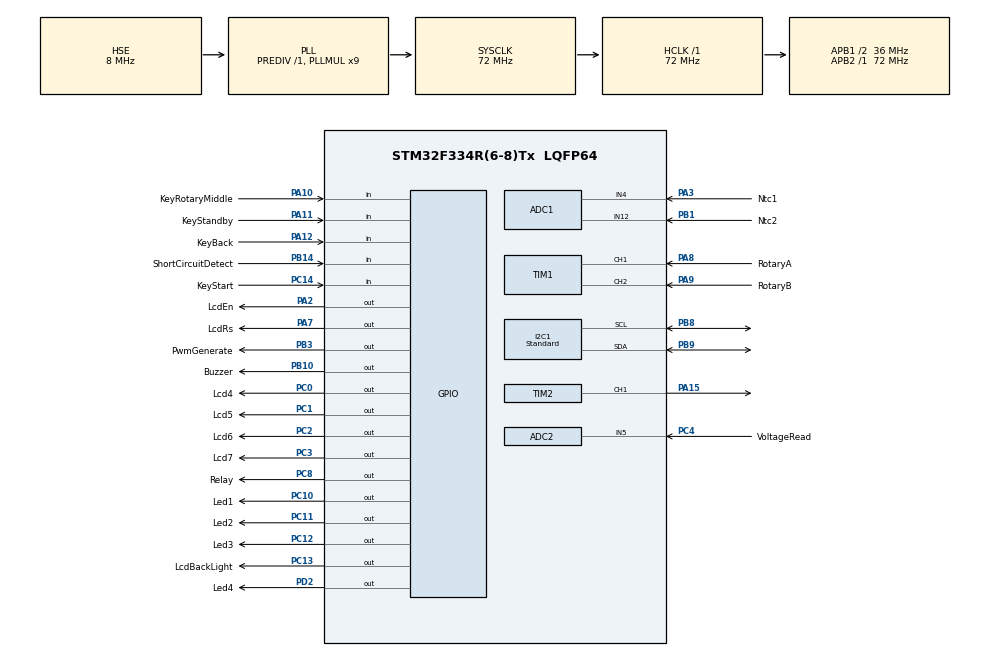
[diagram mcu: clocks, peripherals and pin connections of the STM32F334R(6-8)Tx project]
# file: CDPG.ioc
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ADC1.Channel-0\#ChannelRegularConversion=ADC_CHANNEL_12
ADC1.ClockPrescaler=ADC_CLOCK_SYNC_PCLK_DIV2
ADC1.NbrOfConversionFlag=1
ADC1.Offset-0\#ChannelRegularConversion=0
ADC1.OffsetNumber-0\#ChannelRegularConversion=ADC_OFFSET_NONE
ADC1.Rank-0\#ChannelRegularConversion=1
ADC1.SamplingTime-0\#ChannelRegularConversion=ADC_SAMPLETIME_1CYCLE_5
ADC1.SubFamily=STM32F334x8
ADC1.master=1
ADC2.Channel-0\#ChannelRegularConversion=ADC_CHANNEL_5
ADC2.ClockPrescaler=ADC_CLOCK_SYNC_PCLK_DIV2
ADC2.InjNumberOfConversion=0
ADC2.NbrOfConversion=1
ADC2.NbrOfConversionFlag=1
ADC2.Offset-0\#ChannelRegularConversion=0
ADC2.OffsetNumber-0\#ChannelRegularConversion=ADC_OFFSET_NONE
ADC2.Rank-0\#ChannelRegularConversion=1
ADC2.Resolution=ADC_RESOLUTION_12B
ADC2.SamplingTime-0\#ChannelRegularConversion=ADC_SAMPLETIME_2CYCLES_5
ADC2.SamplingTimeOPAMP-0\#ChannelRegularConversion=ADC_SAMPLETIME_61CYCLES_5
ADC2.SubFamily=STM32F334x8
I2C1.I2C_Coeff_DF=5
I2C1.I2C_Speed_Mode=I2C_Standard
I2C1.Timing=0x00201826
Mcu.Family=STM32F3
Mcu.Name=STM32F334R(6-8)Tx
Mcu.Package=LQFP64
NVIC.PriorityGroup=NVIC_PRIORITYGROUP_4
NVIC.TIM2_IRQn=true\:0\:0\:false\:false\:true\:true\:true\:true
NVIC.TIM7_DAC2_IRQn=true\:0\:0\:false\:false\:true\:true\:true\:true
PA10.GPIO_Label=KeyRotaryMiddle
PA10.GPIO_PuPd=GPIO_PULLUP
PA10.Signal=GPIO_Input
PA11.GPIO_Label=KeyStandby
PA11.GPIO_PuPd=GPIO_PULLUP
PA11.Signal=GPIO_Input
PA12.GPIO_Label=KeyBack
PA12.GPIO_PuPd=GPIO_PULLUP
PA12.Signal=GPIO_Input
PA13.Mode=Serial_Wire
PA13.Signal=SYS_JTMS-SWDIO
PA14.Mode=Serial_Wire
PA14.Signal=SYS_JTCK-SWCLK
PA15.Signal=S_TIM2_CH1_ETR
PA2.GPIO_Label=LcdEn
PA2.GPIO_ModeDefaultOutputPP=GPIO_MODE_OUTPUT_PP
PA2.GPIO_PuPd=GPIO_PULLDOWN
PA2.Signal=GPIO_Output
PA3.GPIO_Label=Ntc1
PA3.Mode=IN4-Single-Ended
PA3.Signal=ADC1_IN4
PA7.GPIO_Label=LcdRs
PA7.GPIO_PuPd=GPIO_PULLDOWN
PA7.Signal=GPIO_Output
PA8.GPIO_Label=RotaryA
PA8.Signal=S_TIM1_CH1
PA9.GPIO_Label=RotaryB
PA9.Signal=S_TIM1_CH2
PB1.GPIO_Label=Ntc2
PB1.Mode=IN12-Single-Ended
PB1.Signal=ADC1_IN12
PB10.GPIO_Label=Buzzer
PB10.Signal=GPIO_Output
PB14.GPIO_Label=ShortCircuitDetect
PB14.GPIO_PuPd=GPIO_PULLUP
PB14.Signal=GPIO_Input
PB3.GPIO_Label=PwmGenerate
PB3.GPIO_PuPd=GPIO_PULLDOWN
PB3.Signal=GPIO_Output
PB8.Mode=I2C
PB8.Signal=I2C1_SCL
PB9.Mode=I2C
PB9.Signal=I2C1_SDA
PC0.GPIO_Label=Lcd4
PC0.GPIO_PuPd=GPIO_PULLDOWN
PC0.Signal=GPIO_Output
PC1.GPIO_Label=Lcd5
PC1.GPIO_PuPd=GPIO_PULLDOWN
PC1.Signal=GPIO_Output
PC10.GPIO_Label=Led1
PC10.GPIO_PuPd=GPIO_PULLDOWN
PC10.Signal=GPIO_Output
PC11.GPIO_Label=Led2
PC11.GPIO_PuPd=GPIO_PULLDOWN
PC11.Signal=GPIO_Output
PC12.GPIO_Label=Led3
PC12.GPIO_PuPd=GPIO_PULLDOWN
PC12.Signal=GPIO_Output
PC13.GPIO_Label=LcdBackLight
PC13.GPIO_PuPd=GPIO_PULLDOWN
PC13.Signal=GPIO_Output
PC14\ /\ OSC32_IN.GPIO_Label=KeyStart
PC14\ /\ OSC32_IN.GPIO_PuPd=GPIO_PULLUP
PC14\ /\ OSC32_IN.Signal=GPIO_Input
PC2.GPIO_Label=Lcd6
PC2.GPIO_PuPd=GPIO_PULLDOWN
PC2.Signal=GPIO_Output
PC3.GPIO_Label=Lcd7
PC3.GPIO_PuPd=GPIO_PULLDOWN
PC3.Signal=GPIO_Output
PC4.GPIO_Label=VoltageRead
PC4.Mode=IN5-Single-Ended
PC4.Signal=ADC2_IN5
PC8.GPIO_Label=Relay
PC8.Signal=GPIO_Output
PD2.GPIO_Label=Led4
PD2.GPIO_PuPd=GPIO_PULLDOWN
PD2.Signal=GPIO_Output
PF0\ /\ OSC_IN.Mode=HSE-External-Oscillator
PF0\ /\ OSC_IN.Signal=RCC_OSC_IN
PF1\ /\ OSC_OUT.Mode=HSE-External-Oscillator
PF1\ /\ OSC_OUT.Signal=RCC_OSC_OUT
ProjectManager.HeapSize=0x200
ProjectManager.StackSize=0x400
ProjectManager.TargetToolchain=STM32CubeIDE
RCC.AHBFreq_Value=72000000
RCC.APB1CLKDivider=RCC_HCLK_DIV2
RCC.APB1Freq_Value=36000000
RCC.APB1TimFreq_Value=72000000
RCC.APB2Freq_Value=72000000
RCC.APB2TimFreq_Value=72000000
RCC.CortexFreq_Value=72000000
RCC.HCLKFreq_Value=72000000
RCC.HSE_VALUE=8000000
RCC.HSI_VALUE=8000000
RCC.LSE_VALUE=32768
RCC.PLLMUL=RCC_PLL_MUL9
RCC.PLLSourceVirtual=RCC_PLLSOURCE_HSE
RCC.SYSCLKFreq_VALUE=72000000
RCC.SYSCLKSourceVirtual=RCC_SYSCLKSOURCE_PLLCLK
SH.S_TIM1_CH1.0=TIM1_CH1,Encoder_Interface
SH.S_TIM1_CH2.0=TIM1_CH2,Encoder_Interface
SH.S_TIM2_CH1_ETR.0=TIM2_CH1,PWM Generation1 CH1
TIM1.AutoReloadPreload=TIM_AUTORELOAD_PRELOAD_DISABLE
TIM1.ClockDivision=TIM_CLOCKDIVISION_DIV1
TIM1.CounterMode=TIM_COUNTERMODE_UP
TIM1.EncoderMode=TIM_ENCODERMODE_TI12
TIM1.IC1Filter=5
TIM1.IC1Polarity=TIM_ICPOLARITY_FALLING
TIM1.IC1Prescaler=TIM_ICPSC_DIV1
TIM1.IC2Filter=5
TIM1.IC2Polarity=TIM_ICPOLARITY_FALLING
TIM1.IC2Prescaler=TIM_ICPSC_DIV1
TIM2.AutoReloadPreload=TIM_AUTORELOAD_PRELOAD_ENABLE
TIM2.Channel-Output\ Compare2\ No\ Output=TIM_CHANNEL_2
TIM2.Channel-Output\ Compare3\ No\ Output=TIM_CHANNEL_3
TIM2.Channel-PWM\ Generation1\ CH1=TIM_CHANNEL_1
TIM2.ClearInputSource=TIM_CLEARINPUTSOURCE_NONE
TIM2.OC2Preload=ENABLE
TIM2.OC3Preload=ENABLE
TIM2.OCFastMode_PWM-PWM\ Generation1\ CH1=TIM_OCFAST_ENABLE
TIM2.Period=100000-1
TIM2.Prescaler=72-1
TIM2.Pulse-Output\ Compare2\ No\ Output=45
TIM2.Pulse-Output\ Compare3\ No\ Output=75
TIM2.Pulse-PWM\ Generation1\ CH1=40
TIM7.AutoReloadPreload=TIM_AUTORELOAD_PRELOAD_ENABLE
TIM7.Period=1000-1
TIM7.Prescaler=72-1
VP_TIM2_VS_no_output2.Mode=Output Compare2 No Output
VP_TIM2_VS_no_output3.Mode=Output Compare3 No Output
VP_TIM7_VS_ClockSourceINT.Mode=Enable_Timer
board=custom

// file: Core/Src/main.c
/* USER CODE BEGIN Header */
/**
  ******************************************************************************
  * @file           : main.c
  * @brief          : Main program body
  ******************************************************************************
  * @attention
  *
  * Copyright (c) 2024 STMicroelectronics.
  * All rights reserved.
  *
  * This software is licensed under terms that can be found in the LICENSE file
  * in the root directory of this software component.
  * If no LICENSE file comes with this software, it is provided AS-IS.
  *
  ******************************************************************************
  */
/* USER CODE END Header */
#include "main.h"

/* USER CODE BEGIN Includes */
#include "button.h"
#include "eeprom.h"
#include "menu.h"
#include "input.h"
//#include "lcd.h"
/* USER CODE END Includes */

/* USER CODE BEGIN PD */
//#define BUZZ_NUM	0
//#define BUZZ_DELAY	1
/* USER CODE END PD */

ADC_HandleTypeDef hadc1;
ADC_HandleTypeDef hadc2;

I2C_HandleTypeDef hi2c1;

TIM_HandleTypeDef htim1;
TIM_HandleTypeDef htim2;
TIM_HandleTypeDef htim7;

/* USER CODE BEGIN PV */

/* These variables for create delay with timer */
volatile bool
				flag1ms,
				flag10ms,
				flag100ms,
	            flag300ms,
				flag500ms,
	            flag1s,

				flcd10ms,
				flcd100ms,
				f2lcd100ms,
	            flcd300ms,
				flcd500ms,
	            flcd1s,

				flag1sStart,
				flagCapCh,
                flagRefreshValue500ms,
				flagRampStart,
				flagRythm,
				flagCountRamp,
				flagStopPwm,
				flagRotaryCW = false,
				flagRotaryCCW = false;

/* rotary  turn direction (CW/CCW) diagnose variables */
int32_t encoder_counter = 0;
int32_t last_count = 2000;
int32_t diff = 0;

extern bool blink_enable;

/* Buttons read */
volatile uint8_t /* buttons_release, */ buttonMask;

/* holds the current keys state */
volatile char input;

volatile uint8_t nextState; // volatile for avoid of optimizing for debug program

//extern enterFunction;

/* Array to determine that the buzzer need to toggle.
 * this array consists of buzzer[0] = number of toggles
 *					  and buzzer[1] = delay between each toggle.
 * this array must be initialized when need to buzzer toggled.
 */
volatile uint8_t buzzer[2];

static inline void ToggleBuzzer(volatile uint8_t buzzer[2])
{
	static uint8_t number = 0;
	static uint8_t count10ms = 0;

	if (count10ms == 0) /* buzzer[BUZZ_DELAY]/10 = number of count10ms */
	{
		if (number < buzzer[BUZZ_NUM] * 2)	/* buzzer[BUZZ_NUM]*2 = number of (buzzer_off + buzzer_on) BUT
											   buzzer[BUZZ_NUM]	  = number of buzzer_on */
		{
			//BUZZ_TGL;
			HAL_GPIO_TogglePin(GPIOB, GPIO_PIN_10);
			number++;
			count10ms = (buzzer[BUZZ_DELAY] / 10);
		}
		else
		{
			HAL_GPIO_WritePin(GPIOB, GPIO_PIN_10, GPIO_PIN_RESET);
			number = 0;
			count10ms = 0;
			buzzer[BUZZ_NUM] = 0;
			buzzer[BUZZ_DELAY] = 0;
		}
	}

	if (buzzer[BUZZ_NUM])
	{
		count10ms--;
	}
}

MENU_STATE MenuState[8] = {
	//  STATE		  		STATE TEXT    STATE_FUNC
	{ ST_STANDBY,     		NULL,         StandBy },
	{ ST_MAIN_STATE,  		NULL,         MainMenu },
	{ ST_INT_ADJUST,  		NULL,         IntAdjust },
	{ ST_FLT_ADJUST, 		NULL,         FloatAdjust },
	{ ST_STR_CHANGE,  		NULL,         StringChange },
	{ ST_CONTACT_US,  		NULL,         ContactUs },
	//{ ST_VOLTAGE_SHOW,   	NULL,         ReadVoltageADC },

	{ 0,              		NULL,         NULL }
};

/* USER CODE END PV */

void SystemClock_Config(void);
static void MX_GPIO_Init(void);
static void MX_TIM1_Init(void);
static void MX_TIM7_Init(void);
static void MX_I2C1_Init(void);
static void MX_ADC1_Init(void);
static void MX_TIM2_Init(void);
static void MX_ADC2_Init(void);

int main(void)
{

  /* MCU Configuration--------------------------------------------------------*/

  /* Reset of all peripherals, Initializes the Flash interface and the Systick. */
  HAL_Init();

  /* Configure the system clock */
  SystemClock_Config();

  /* Initialize all configured peripherals */
  MX_GPIO_Init();
  MX_TIM1_Init();
  MX_TIM7_Init();
  MX_I2C1_Init();
  MX_ADC1_Init();
  MX_TIM2_Init();
  MX_ADC2_Init();
  /* USER CODE BEGIN 2 */

  /*first uncomment ValuInit_Write_EE() to write initial values,
  then comment it and upload the program again on the micro*/
  //InitValueWriteToEeprom();
  InitValueReadFromEeprom();

  /*start encoder timer 1 for reading rotary encoder */
  HAL_TIM_Encoder_Start(&htim1, TIM_CHANNEL_ALL);
  TIM1->CNT = 2000;

  /* create different flags base on 1ms timer 7 */
  HAL_TIM_Base_Start_IT(&htim7);

  /* Create PWM and change Frequency and Duty Cycle */
  //__HAL_TIM_ENABLE_IT(&htim3, TIM_IT_UPDATE );
  //HAL_TIM_Base_Start_IT(&htim3);

  //HAL_TIM_PWM_Start(&htim2, PwmCh);
  //__HAL_TIM_SET_COMPARE(&htim2, PwmCh, 1000);
  //TIM2->CCR1=5;

  uint8_t j;

  char (*pStateFunc)(char);

  /* Initial state variables */
  uint8_t state = ST_STANDBY;
  pStateFunc = StandBy;

  /* Lcd initial start */

  LcdInit();
  LcdClear();
  LcdDisplayOn();
  LcdBackLightSet();
  //HAL_GPIO_WritePin(LcdEn_GPIO_Port, LcdEn_Pin, GPIO_PIN_SET);
  /* USER CODE END 2 */

  /* Infinite loop */
  /* USER CODE BEGIN WHILE */
  while (1)
  {
	  /* Read rotary encoder and find the direction */
		encoder_counter = __HAL_TIM_GET_COUNTER(&htim1)/ROTARY_SPC;
		diff = encoder_counter - last_count;  // Calculate the difference between the current count and the last count

		if (diff != 0)
		{
			if (diff > 0)
			{
				flagRotaryCW = true; //Clockwise rotation
				flagRotaryCCW = false;
			}
			else if (diff < 0)
			{
				flagRotaryCW = false;
				flagRotaryCCW = true; //Counter-clockwise rotation
			}

			last_count = encoder_counter; //Update the last count
		}

		/* Every 10 mS check */
		if ( flag10ms == true )
		{
			CheckInputDebounced();
			if ( mode_state == STOP)
			{
				ReadVoltageADC();
			}
			Debounce();  // Update button_state.

			if (buzzer[BUZZ_NUM])
				ToggleBuzzer(buzzer);

			flag10ms = false;
		}

		if ( flag500ms == true )
		{
			if (blink_enable)
			{
				LedUpdateBlink();
			}
			flag500ms = false;
		}

		/* Read input and change states */
		buttonMask=KEY_MASK;
		buttonMask &= buttonRelease;
		buttonRelease ^= buttonMask;
		input = buttonMask | ((flagRotaryCCW*ROTARY_CCW_DIR)) | ((flagRotaryCW*ROTARY_CW_DIR)); // Read buttons
		//input = buttonsDown(KEY_MASK) | ((flagRotaryCCW*ROTARY_CCW_DIR)) | ((flagRotaryCW*ROTARY_CW_DIR));
		flagRotaryCW = false;
		flagRotaryCCW = false;

	    /* Set buzzer to beep if one button is pressed */
		if (input)
		{
			buzzer[BUZZ_NUM] = 1;
			buzzer[BUZZ_DELAY] = 10;
		}

		//if (tapChangerState == 0 || errorVar != 0)
		//{
			/* When in this state, we must call the state function */
			nextState = pStateFunc(input);
			if(errorVar != 0)
				nextState = ST_ERRORS;
			if (nextState != state)
			{
				state = nextState;

				for (uint8_t n = 0; (j=MenuState[n].state); n++)
				{
					if (j == state)
					{
						pStateFunc = MenuState[n].pFunc;
						break;
					}
				}

			}
		//}
    /* USER CODE END WHILE */

  }
}

void SystemClock_Config(void)
{
  RCC_OscInitTypeDef RCC_OscInitStruct = {0};
  RCC_ClkInitTypeDef RCC_ClkInitStruct = {0};
  RCC_PeriphCLKInitTypeDef PeriphClkInit = {0};

  /** Initializes the RCC Oscillators according to the specified parameters
  * in the RCC_OscInitTypeDef structure.
  */
  RCC_OscInitStruct.OscillatorType = RCC_OSCILLATORTYPE_HSI|RCC_OSCILLATORTYPE_HSE;
  RCC_OscInitStruct.HSEState = RCC_HSE_ON;
  RCC_OscInitStruct.HSEPredivValue = RCC_HSE_PREDIV_DIV1;
  RCC_OscInitStruct.HSIState = RCC_HSI_ON;
  RCC_OscInitStruct.HSICalibrationValue = RCC_HSICALIBRATION_DEFAULT;
  RCC_OscInitStruct.PLL.PLLState = RCC_PLL_ON;
  RCC_OscInitStruct.PLL.PLLSource = RCC_PLLSOURCE_HSE;
  RCC_OscInitStruct.PLL.PLLMUL = RCC_PLL_MUL9;
  if (HAL_RCC_OscConfig(&RCC_OscInitStruct) != HAL_OK)
  {
    Error_Handler();
  }

  /** Initializes the CPU, AHB and APB buses clocks
  */
  RCC_ClkInitStruct.ClockType = RCC_CLOCKTYPE_HCLK|RCC_CLOCKTYPE_SYSCLK
                              |RCC_CLOCKTYPE_PCLK1|RCC_CLOCKTYPE_PCLK2;
  RCC_ClkInitStruct.SYSCLKSource = RCC_SYSCLKSOURCE_PLLCLK;
  RCC_ClkInitStruct.AHBCLKDivider = RCC_SYSCLK_DIV1;
  RCC_ClkInitStruct.APB1CLKDivider = RCC_HCLK_DIV2;
  RCC_ClkInitStruct.APB2CLKDivider = RCC_HCLK_DIV1;

  if (HAL_RCC_ClockConfig(&RCC_ClkInitStruct, FLASH_LATENCY_2) != HAL_OK)
  {
    Error_Handler();
  }
  PeriphClkInit.PeriphClockSelection = RCC_PERIPHCLK_I2C1|RCC_PERIPHCLK_TIM1;
  PeriphClkInit.I2c1ClockSelection = RCC_I2C1CLKSOURCE_HSI;
  PeriphClkInit.Tim1ClockSelection = RCC_TIM1CLK_HCLK;
  if (HAL_RCCEx_PeriphCLKConfig(&PeriphClkInit) != HAL_OK)
  {
    Error_Handler();
  }
}

static void MX_ADC1_Init(void)
{

  ADC_MultiModeTypeDef multimode = {0};
  ADC_ChannelConfTypeDef sConfig = {0};

  /** Common config
  */
  hadc1.Instance = ADC1;
  hadc1.Init.ClockPrescaler = ADC_CLOCK_SYNC_PCLK_DIV2;
  hadc1.Init.Resolution = ADC_RESOLUTION_12B;
  hadc1.Init.ScanConvMode = ADC_SCAN_DISABLE;
  hadc1.Init.ContinuousConvMode = DISABLE;
  hadc1.Init.DiscontinuousConvMode = DISABLE;
  hadc1.Init.ExternalTrigConvEdge = ADC_EXTERNALTRIGCONVEDGE_NONE;
  hadc1.Init.ExternalTrigConv = ADC_SOFTWARE_START;
  hadc1.Init.DataAlign = ADC_DATAALIGN_RIGHT;
  hadc1.Init.NbrOfConversion = 1;
  hadc1.Init.DMAContinuousRequests = DISABLE;
  hadc1.Init.EOCSelection = ADC_EOC_SINGLE_CONV;
  hadc1.Init.LowPowerAutoWait = DISABLE;
  hadc1.Init.Overrun = ADC_OVR_DATA_OVERWRITTEN;
  if (HAL_ADC_Init(&hadc1) != HAL_OK)
  {
    Error_Handler();
  }

  /** Configure the ADC multi-mode
  */
  multimode.Mode = ADC_MODE_INDEPENDENT;
  if (HAL_ADCEx_MultiModeConfigChannel(&hadc1, &multimode) != HAL_OK)
  {
    Error_Handler();
  }

  /** Configure Regular Channel
  */
  sConfig.Channel = ADC_CHANNEL_12;
  sConfig.Rank = ADC_REGULAR_RANK_1;
  sConfig.SingleDiff = ADC_SINGLE_ENDED;
  sConfig.SamplingTime = ADC_SAMPLETIME_1CYCLE_5;
  sConfig.OffsetNumber = ADC_OFFSET_NONE;
  sConfig.Offset = 0;
  if (HAL_ADC_ConfigChannel(&hadc1, &sConfig) != HAL_OK)
  {
    Error_Handler();
  }

}

static void MX_ADC2_Init(void)
{

  ADC_ChannelConfTypeDef sConfig = {0};

  /** Common config
  */
  hadc2.Instance = ADC2;
  hadc2.Init.ClockPrescaler = ADC_CLOCK_SYNC_PCLK_DIV2;
  hadc2.Init.Resolution = ADC_RESOLUTION_12B;
  hadc2.Init.ScanConvMode = ADC_SCAN_DISABLE;
  hadc2.Init.ContinuousConvMode = DISABLE;
  hadc2.Init.DiscontinuousConvMode = DISABLE;
  hadc2.Init.ExternalTrigConvEdge = ADC_EXTERNALTRIGCONVEDGE_NONE;
  hadc2.Init.ExternalTrigConv = ADC_SOFTWARE_START;
  hadc2.Init.DataAlign = ADC_DATAALIGN_RIGHT;
  hadc2.Init.NbrOfConversion = 1;
  hadc2.Init.DMAContinuousRequests = DISABLE;
  hadc2.Init.EOCSelection = ADC_EOC_SINGLE_CONV;
  hadc2.Init.LowPowerAutoWait = DISABLE;
  hadc2.Init.Overrun = ADC_OVR_DATA_OVERWRITTEN;
  if (HAL_ADC_Init(&hadc2) != HAL_OK)
  {
    Error_Handler();
  }

  /** Configure Regular Channel
  */
  sConfig.Channel = ADC_CHANNEL_5;
  sConfig.Rank = ADC_REGULAR_RANK_1;
  sConfig.SingleDiff = ADC_SINGLE_ENDED;
  sConfig.SamplingTime = ADC_SAMPLETIME_2CYCLES_5;
  sConfig.OffsetNumber = ADC_OFFSET_NONE;
  sConfig.Offset = 0;
  if (HAL_ADC_ConfigChannel(&hadc2, &sConfig) != HAL_OK)
  {
    Error_Handler();
  }

}

static void MX_I2C1_Init(void)
{

  hi2c1.Instance = I2C1;
  hi2c1.Init.Timing = 0x00201826;
  hi2c1.Init.OwnAddress1 = 0;
  hi2c1.Init.AddressingMode = I2C_ADDRESSINGMODE_7BIT;
  hi2c1.Init.DualAddressMode = I2C_DUALADDRESS_DISABLE;
  hi2c1.Init.OwnAddress2 = 0;
  hi2c1.Init.OwnAddress2Masks = I2C_OA2_NOMASK;
  hi2c1.Init.GeneralCallMode = I2C_GENERALCALL_DISABLE;
  hi2c1.Init.NoStretchMode = I2C_NOSTRETCH_DISABLE;
  if (HAL_I2C_Init(&hi2c1) != HAL_OK)
  {
    Error_Handler();
  }

  /** Configure Analogue filter
  */
  if (HAL_I2CEx_ConfigAnalogFilter(&hi2c1, I2C_ANALOGFILTER_ENABLE) != HAL_OK)
  {
    Error_Handler();
  }

  /** Configure Digital filter
  */
  if (HAL_I2CEx_ConfigDigitalFilter(&hi2c1, 5) != HAL_OK)
  {
    Error_Handler();
  }

}

static void MX_TIM1_Init(void)
{

  TIM_Encoder_InitTypeDef sConfig = {0};
  TIM_MasterConfigTypeDef sMasterConfig = {0};

  htim1.Instance = TIM1;
  htim1.Init.Prescaler = 0;
  htim1.Init.CounterMode = TIM_COUNTERMODE_UP;
  htim1.Init.Period = 65535;
  htim1.Init.ClockDivision = TIM_CLOCKDIVISION_DIV1;
  htim1.Init.RepetitionCounter = 0;
  htim1.Init.AutoReloadPreload = TIM_AUTORELOAD_PRELOAD_DISABLE;
  sConfig.EncoderMode = TIM_ENCODERMODE_TI12;
  sConfig.IC1Polarity = TIM_ICPOLARITY_FALLING;
  sConfig.IC1Selection = TIM_ICSELECTION_DIRECTTI;
  sConfig.IC1Prescaler = TIM_ICPSC_DIV1;
  sConfig.IC1Filter = 5;
  sConfig.IC2Polarity = TIM_ICPOLARITY_FALLING;
  sConfig.IC2Selection = TIM_ICSELECTION_DIRECTTI;
  sConfig.IC2Prescaler = TIM_ICPSC_DIV1;
  sConfig.IC2Filter = 5;
  if (HAL_TIM_Encoder_Init(&htim1, &sConfig) != HAL_OK)
  {
    Error_Handler();
  }
  sMasterConfig.MasterOutputTrigger = TIM_TRGO_RESET;
  sMasterConfig.MasterOutputTrigger2 = TIM_TRGO2_RESET;
  sMasterConfig.MasterSlaveMode = TIM_MASTERSLAVEMODE_DISABLE;
  if (HAL_TIMEx_MasterConfigSynchronization(&htim1, &sMasterConfig) != HAL_OK)
  {
    Error_Handler();
  }

}

static void MX_TIM2_Init(void)
{

  TIM_MasterConfigTypeDef sMasterConfig = {0};
  TIM_OC_InitTypeDef sConfigOC = {0};

  htim2.Instance = TIM2;
  htim2.Init.Prescaler = 72-1;
  htim2.Init.CounterMode = TIM_COUNTERMODE_UP;
  htim2.Init.Period = 100000-1;
  htim2.Init.ClockDivision = TIM_CLOCKDIVISION_DIV1;
  htim2.Init.AutoReloadPreload = TIM_AUTORELOAD_PRELOAD_ENABLE;
  if (HAL_TIM_PWM_Init(&htim2) != HAL_OK)
  {
    Error_Handler();
  }
  if (HAL_TIM_OC_Init(&htim2) != HAL_OK)
  {
    Error_Handler();
  }
  sMasterConfig.MasterOutputTrigger = TIM_TRGO_RESET;
  sMasterConfig.MasterSlaveMode = TIM_MASTERSLAVEMODE_DISABLE;
  if (HAL_TIMEx_MasterConfigSynchronization(&htim2, &sMasterConfig) != HAL_OK)
  {
    Error_Handler();
  }
  sConfigOC.OCMode = TIM_OCMODE_PWM1;
  sConfigOC.Pulse = 40;
  sConfigOC.OCPolarity = TIM_OCPOLARITY_HIGH;
  sConfigOC.OCFastMode = TIM_OCFAST_ENABLE;
  if (HAL_TIM_PWM_ConfigChannel(&htim2, &sConfigOC, TIM_CHANNEL_1) != HAL_OK)
  {
    Error_Handler();
  }
  sConfigOC.OCMode = TIM_OCMODE_TIMING;
  sConfigOC.Pulse = 45;
  sConfigOC.OCFastMode = TIM_OCFAST_DISABLE;
  if (HAL_TIM_OC_ConfigChannel(&htim2, &sConfigOC, TIM_CHANNEL_2) != HAL_OK)
  {
    Error_Handler();
  }
  __HAL_TIM_ENABLE_OCxPRELOAD(&htim2, TIM_CHANNEL_2);
  sConfigOC.Pulse = 75;
  if (HAL_TIM_OC_ConfigChannel(&htim2, &sConfigOC, TIM_CHANNEL_3) != HAL_OK)
  {
    Error_Handler();
  }
  __HAL_TIM_ENABLE_OCxPRELOAD(&htim2, TIM_CHANNEL_3);
  HAL_TIM_MspPostInit(&htim2);

}

static void MX_TIM7_Init(void)
{

  TIM_MasterConfigTypeDef sMasterConfig = {0};

  htim7.Instance = TIM7;
  htim7.Init.Prescaler = 72-1;
  htim7.Init.CounterMode = TIM_COUNTERMODE_UP;
  htim7.Init.Period = 1000-1;
  htim7.Init.AutoReloadPreload = TIM_AUTORELOAD_PRELOAD_ENABLE;
  if (HAL_TIM_Base_Init(&htim7) != HAL_OK)
  {
    Error_Handler();
  }
  sMasterConfig.MasterOutputTrigger = TIM_TRGO_RESET;
  sMasterConfig.MasterSlaveMode = TIM_MASTERSLAVEMODE_DISABLE;
  if (HAL_TIMEx_MasterConfigSynchronization(&htim7, &sMasterConfig) != HAL_OK)
  {
    Error_Handler();
  }

}

static void MX_GPIO_Init(void)
{
  GPIO_InitTypeDef GPIO_InitStruct = {0};

  /* GPIO Ports Clock Enable */
  __HAL_RCC_GPIOC_CLK_ENABLE();
  __HAL_RCC_GPIOF_CLK_ENABLE();
  __HAL_RCC_GPIOA_CLK_ENABLE();
  __HAL_RCC_GPIOB_CLK_ENABLE();
  __HAL_RCC_GPIOD_CLK_ENABLE();

  /*Configure GPIO pin Output Level */
  HAL_GPIO_WritePin(GPIOC, LcdBackLight_Pin|Lcd4_Pin|Lcd5_Pin|Lcd6_Pin
                          |Lcd7_Pin|Relay_Pin|Led1_Pin|Led2_Pin
                          |Led3_Pin, GPIO_PIN_RESET);

  /*Configure GPIO pin Output Level */
  HAL_GPIO_WritePin(GPIOA, LcdEn_Pin|LcdRs_Pin, GPIO_PIN_RESET);

  /*Configure GPIO pin Output Level */
  HAL_GPIO_WritePin(GPIOB, Buzzer_Pin|PwmGenerate_Pin, GPIO_PIN_RESET);

  /*Configure GPIO pin Output Level */
  HAL_GPIO_WritePin(Led4_GPIO_Port, Led4_Pin, GPIO_PIN_RESET);

  /*Configure GPIO pins : LcdBackLight_Pin Lcd4_Pin Lcd5_Pin Lcd6_Pin
                           Lcd7_Pin Led1_Pin Led2_Pin Led3_Pin */
  GPIO_InitStruct.Pin = LcdBackLight_Pin|Lcd4_Pin|Lcd5_Pin|Lcd6_Pin
                          |Lcd7_Pin|Led1_Pin|Led2_Pin|Led3_Pin;
  GPIO_InitStruct.Mode = GPIO_MODE_OUTPUT_PP;
  GPIO_InitStruct.Pull = GPIO_PULLDOWN;
  GPIO_InitStruct.Speed = GPIO_SPEED_FREQ_LOW;
  HAL_GPIO_Init(GPIOC, &GPIO_InitStruct);

  /*Configure GPIO pin : KeyStart_Pin */
  GPIO_InitStruct.Pin = KeyStart_Pin;
  GPIO_InitStruct.Mode = GPIO_MODE_INPUT;
  GPIO_InitStruct.Pull = GPIO_PULLUP;
  HAL_GPIO_Init(KeyStart_GPIO_Port, &GPIO_InitStruct);

  /*Configure GPIO pins : LcdEn_Pin LcdRs_Pin */
  GPIO_InitStruct.Pin = LcdEn_Pin|LcdRs_Pin;
  GPIO_InitStruct.Mode = GPIO_MODE_OUTPUT_PP;
  GPIO_InitStruct.Pull = GPIO_PULLDOWN;
  GPIO_InitStruct.Speed = GPIO_SPEED_FREQ_LOW;
  HAL_GPIO_Init(GPIOA, &GPIO_InitStruct);

  /*Configure GPIO pin : Buzzer_Pin */
  GPIO_InitStruct.Pin = Buzzer_Pin;
  GPIO_InitStruct.Mode = GPIO_MODE_OUTPUT_PP;
  GPIO_InitStruct.Pull = GPIO_NOPULL;
  GPIO_InitStruct.Speed = GPIO_SPEED_FREQ_LOW;
  HAL_GPIO_Init(Buzzer_GPIO_Port, &GPIO_InitStruct);

  /*Configure GPIO pin : ShortCircuitDetect_Pin */
  GPIO_InitStruct.Pin = ShortCircuitDetect_Pin;
  GPIO_InitStruct.Mode = GPIO_MODE_INPUT;
  GPIO_InitStruct.Pull = GPIO_PULLUP;
  HAL_GPIO_Init(ShortCircuitDetect_GPIO_Port, &GPIO_InitStruct);

  /*Configure GPIO pin : Relay_Pin */
  GPIO_InitStruct.Pin = Relay_Pin;
  GPIO_InitStruct.Mode = GPIO_MODE_OUTPUT_PP;
  GPIO_InitStruct.Pull = GPIO_NOPULL;
  GPIO_InitStruct.Speed = GPIO_SPEED_FREQ_LOW;
  HAL_GPIO_Init(Relay_GPIO_Port, &GPIO_InitStruct);

  /*Configure GPIO pins : KeyRotaryMiddle_Pin KeyStandby_Pin KeyBack_Pin */
  GPIO_InitStruct.Pin = KeyRotaryMiddle_Pin|KeyStandby_Pin|KeyBack_Pin;
  GPIO_InitStruct.Mode = GPIO_MODE_INPUT;
  GPIO_InitStruct.Pull = GPIO_PULLUP;
  HAL_GPIO_Init(GPIOA, &GPIO_InitStruct);

  /*Configure GPIO pin : Led4_Pin */
  GPIO_InitStruct.Pin = Led4_Pin;
  GPIO_InitStruct.Mode = GPIO_MODE_OUTPUT_PP;
  GPIO_InitStruct.Pull = GPIO_PULLDOWN;
  GPIO_InitStruct.Speed = GPIO_SPEED_FREQ_LOW;
  HAL_GPIO_Init(Led4_GPIO_Port, &GPIO_InitStruct);

  /*Configure GPIO pin : PwmGenerate_Pin */
  GPIO_InitStruct.Pin = PwmGenerate_Pin;
  GPIO_InitStruct.Mode = GPIO_MODE_OUTPUT_PP;
  GPIO_InitStruct.Pull = GPIO_PULLDOWN;
  GPIO_InitStruct.Speed = GPIO_SPEED_FREQ_LOW;
  HAL_GPIO_Init(PwmGenerate_GPIO_Port, &GPIO_InitStruct);

}

/* USER CODE BEGIN 4 */

/*void HAL_TIM_PWM_PulseFinishedCallback(TIM_HandleTypeDef *htim)
{
	if (htim->Instance == TIM2)
	{
		ReadVoltageADC();
	}
}*/

/*void HAL_TIM_OC_DelayElapsedCallback(TIM_HandleTypeDef *htim)
{
    if(htim->Instance == TIM3 && htim->Channel == HAL_TIM_ACTIVE_CHANNEL_2)
    {
    	TIM2->CNT = 0;
    	HAL_TIM_Base_Start_IT(&htim2);
    	HAL_TIM_PWM_Start(&htim2, TIM_CHANNEL_1);
    	HAL_TIM_OC_Stop_IT(&htim3, TIM_CHANNEL_2);
    }
}*/

void HAL_TIM_OC_DelayElapsedCallback(TIM_HandleTypeDef *htim)
{
    if(htim->Instance == TIM2 && htim->Channel == HAL_TIM_ACTIVE_CHANNEL_2)
    {
		HAL_GPIO_WritePin(GPIOB,GPIO_PIN_3, GPIO_PIN_SET);
    }
    else if(htim->Instance == TIM2 && htim->Channel == HAL_TIM_ACTIVE_CHANNEL_3)
    {
    	HAL_GPIO_WritePin(GPIOB,GPIO_PIN_3, GPIO_PIN_RESET);
    }
}

/**
  * @brief  Period elapsed callback in non blocking mode
  * @note   This function is called  when TIM6 interrupt took place, inside
  * HAL_TIM_IRQHandler(). It makes a direct call to HAL_IncTick() to increment
  * a global variable "uwTick" used as application time base.
  * @param  htim : TIM handle
  * @retval None
  */
void HAL_TIM_PeriodElapsedCallback(TIM_HandleTypeDef *htim)
{
  /* USER CODE BEGIN Callback 0 */
	if (htim->Instance == TIM2)
	{
		ReadVoltageADC();
	}
  /* USER CODE END Callback 0 */

  /* USER CODE BEGIN Callback 1 */

  /* create differents time for delay */
  if (htim->Instance == TIM7) {
	volatile static uint32_t count1ms = 0;
	count1ms++;
	flag1ms = true;

	if ( (count1ms % 10) == 0 )
	{
		//if ( (count1ms % 10) == 0 )
		//{
			flag10ms = true;
			flcd10ms = true;
		//}
		if ( (count1ms % 100) == 0 )
		{
			flag100ms = true;
			flcd100ms = true;
			f2lcd100ms = true;
		}
		/*if ( (count1ms % 300) == 0 )
		{
			flag300ms = true;
			flcd300ms = true;
		}*/
		if ( (count1ms % 500) == 0 )
		{
			//flag500ms = true;
			flagRefreshValue500ms = true;
			flcd500ms = true;
			flag500ms = true;

		}
		if ( (count1ms % 1000) == 0 )
		{
			//flagZeroDetectEr1s = true;
			flag1s = true;
			flcd1s = true;
			count1ms = 0;
		}
		/*if (count1ms == 10000)
		{
			//fErr2s = true;
			count1ms = 0;
		}*/
	}
  }
  /* USER CODE END Callback 1 */
}

/* USER CODE END 4 */

void Error_Handler(void)
{
  __disable_irq();
  while (1)
  {
  }
}
